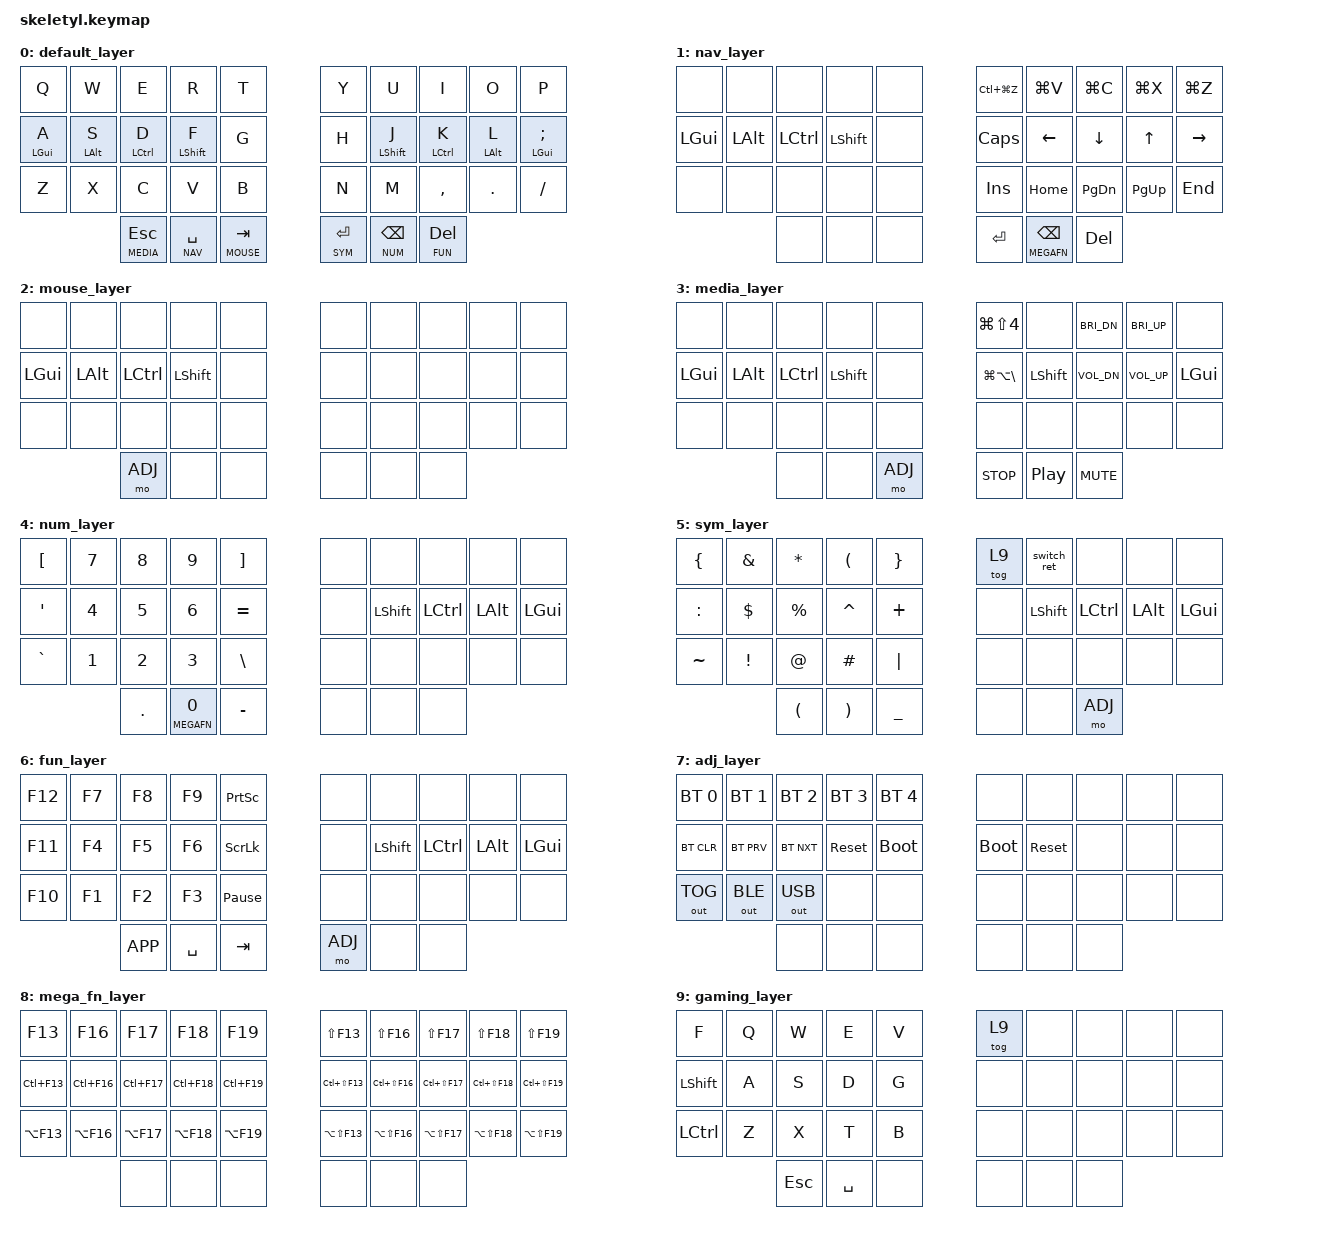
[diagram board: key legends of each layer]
#include <behaviors.dtsi>
#include <dt-bindings/zmk/keys.h>
#include <dt-bindings/zmk/bt.h>
#include <dt-bindings/zmk/outputs.h>

#define BASE 0
#define NAV 1
#define MOUSE 2
#define MEDIA 3
#define NUM 4
#define SYM 5
#define FUN 6
#define ADJ 7
#define MEGAFN 8
#define GAMING 9

/ {
        behaviors {
                hm: homerow_mods {
                        compatible = "zmk,behavior-hold-tap";
                        label = "HOMEROW_MODS";
                        #binding-cells = <2>;
                        tapping-term-ms = <220>;
                        quick_tap_ms = <0>;
                        flavor = "balanced";
                        bindings = <&kp>, <&kp>;
                };
        };

        combos {
                compatible = "zmk,combos";
                combo_prev {
                    timeout-ms = <50>;
                    key-positions = <7 17>;
                    layers = <NAV>;
                    bindings = <&kp LG(LS(LBRC))>;
                };

                combo_next {
                    timeout-ms = <50>;
                    key-positions = <8 18>;
                    layers = <NAV>;
                    bindings = <&kp LG(LS(RBRC))>;
                };
                
                combo_left_sqrbrkt {
                    timeout-ms = <50>;
                    key-positions = <0 10>;
                    layers = <BASE>;
                    bindings = <&kp LBKT>;
                };

                combo_right_sqrbrkt {
                    timeout-ms = <50>;
                    key-positions = <4 14>;
                    layers = <BASE>;
                    bindings = <&kp RBKT>;
                };

                combo_lang_eng {
                    timeout-ms = <50>;
                    key-positions = <27 34>;
                    layers = <BASE>;
                    bindings = <&kp LG(F17)>;
                };

                combo_lang_ru {
                    timeout-ms = <50>;
                    key-positions = <26 34>;
                    layers = <BASE>;
                    bindings = <&kp LG(F16)>;
                };

                combo_lang_pl {
                    timeout-ms = <50>;
                    key-positions = <25 34>;
                    layers = <BASE>;
                    bindings = <&kp LG(F13)>;
                };
        };

        macros {
                switch_ret: switch_ret {
                        compatible = "zmk,behavior-macro";
                        #binding-cells = <0>;
                        wait-ms = <40>;
                        tap-ms = <40>;
                        bindings
                                = <&kp S &kp W &kp I &kp T &kp C &kp H>
                                , <&kp RET>
                                ;
                };
        };

        keymap {
                compatible = "zmk,keymap";

                default_layer {
                        bindings = <
   &kp Q       &kp W       &kp E          &kp R          &kp T             &kp Y        &kp U         &kp I        &kp O       &kp P
   &hm LGUI A  &hm LALT S  &hm LCTRL D    &hm LSHFT F    &kp G             &kp H        &hm LSHFT J   &hm LCTRL K  &hm LALT L  &hm LGUI SEMI
   &kp Z       &kp X       &kp C          &kp V          &kp B             &kp N        &kp M         &kp COMMA    &kp DOT     &kp FSLH
                           &lt MEDIA ESC  &lt NAV SPACE  &lt MOUSE TAB     &lt SYM RET  &lt NUM BSPC  &lt FUN DEL
                        >;
                };

                nav_layer {
                        bindings = <
   &none     &none         &none          &none          &none             &kp LC(LG(Z))  &kp LG(V)   &kp LG(C)    &kp LG(X)   &kp LG(Z)
   &kp LGUI  &kp LALT      &kp LCTRL      &kp LSHFT      &none             &kp CAPS       &kp LEFT    &kp DOWN     &kp UP      &kp RIGHT
   &none     &none         &none          &none          &none             &kp INS        &kp HOME    &kp PG_DN    &kp PG_UP   &kp END
                           &none          &none          &none             &kp RET        &lt MEGAFN BSPC    &kp DEL
                        >;
                };

                mouse_layer {
                        bindings = <
   &none       &none       &none          &none          &none             &none        &none         &none        &none       &none
   &kp LGUI    &kp LALT    &kp LCTRL      &kp LSHFT      &none             &none        &none         &none        &none       &none
   &none       &none       &none          &none          &none             &none        &none         &none        &none       &none
                           &mo ADJ        &none          &none             &none        &none         &none
                        >;
                };

                media_layer {
                        bindings = <
   &none       &none       &none          &none          &none             &kp LG(LS(N4))    &none         &kp C_BRI_DN  &kp C_BRI_UP  &none
   &kp LGUI    &kp LALT    &kp LCTRL      &kp LSHFT      &none             &kp LG(LA(BSLH))  &kp LSHFT     &kp C_VOL_DN  &kp C_VOL_UP  &kp LGUI
   &none       &none       &none          &none          &none             &none             &none         &none         &none         &none
                           &none          &none          &mo ADJ           &kp C_STOP        &kp C_PP      &kp K_MUTE
                        >;
                };

                num_layer {
                        bindings = <
   &kp LBKT    &kp N7      &kp N8         &kp N9         &kp RBKT          &none        &none         &none        &none       &none
   &kp SQT     &kp N4      &kp N5         &kp N6         &kp EQUAL         &none        &kp LSHFT     &kp LCTRL    &kp LALT    &kp LGUI
   &kp GRAVE   &kp N1      &kp N2         &kp N3         &kp BSLH          &none        &none         &none        &none       &none
                           &kp DOT        &lt MEGAFN N0         &kp MINUS         &none        &none         &none
                        >;
                };

                sym_layer {
                        bindings = <
   &kp LBRC    &kp AMPS    &kp STAR       &kp LPAR       &kp RBRC          &tog 9       &switch_ret   &none        &none       &none
   &kp COLON   &kp DLLR    &kp PRCNT      &kp CARET      &kp PLUS          &none        &kp LSHFT     &kp LCTRL    &kp LALT    &kp LGUI
   &kp TILDE   &kp EXCL    &kp AT         &kp HASH       &kp PIPE          &none        &none         &none        &none       &none
                           &kp LPAR       &kp RPAR       &kp UNDER         &none        &none         &mo ADJ
                        >;
                };

                fun_layer {
                        bindings = <
   &kp F12     &kp F7      &kp F8         &kp F9         &kp PSCRN         &none        &none         &none        &none       &none
   &kp F11     &kp F4      &kp F5         &kp F6         &kp SLCK          &none        &kp LSHFT     &kp LCTRL    &kp LALT    &kp LGUI
   &kp F10     &kp F1      &kp F2         &kp F3         &kp PAUSE_BREAK   &none        &none         &none        &none       &none
                           &kp K_APP      &kp SPACE      &kp TAB           &mo ADJ      &none         &none
                        >;
                };

                adj_layer {
                        bindings = <
   &bt BT_SEL 0  &bt BT_SEL 1  &bt BT_SEL 2  &bt BT_SEL 3 &bt BT_SEL 4  &none        &none       &none   &none   &none
   &bt BT_CLR    &bt BT_PRV    &bt BT_NXT    &sys_reset   &bootloader   &bootloader  &sys_reset  &none   &none   &none
   &out OUT_TOG  &out OUT_BLE  &out OUT_USB  &none        &none         &none        &none       &none   &none   &none
                               &none         &none        &none         &none        &none       &none
                        >;
                };
                
                mega_fn_layer {
                        bindings = <
   &kp F13  &kp F16  &kp F17  &kp F18  &kp F19    &kp LS(F13)  &kp LS(F16)  &kp LS(F17)  &kp LS(F18)  &kp LS(F19)
   &kp LC(F13)  &kp LC(F16)  &kp LC(F17)  &kp LC(F18)  &kp LC(F19)    &kp LC(LS(F13))  &kp LC(LS(F16))  &kp LC(LS(F17))  &kp LC(LS(F18))  &kp LC(LS(F19))
   &kp LA(F13)  &kp LA(F16)  &kp LA(F17)  &kp LA(F18)  &kp LA(F19)    &kp LA(LS(F13))  &kp LA(LS(F16))  &kp LA(LS(F17))  &kp LA(LS(F18))  &kp LA(LS(F19))
                               &none         &none        &none         &none        &none   &none
                        >;
                };

                gaming_layer {
                        bindings = <
   &kp F       &kp Q       &kp W          &kp E          &kp V             &tog 9       &none         &none        &none       &none
   &kp LSHIFT  &kp A       &kp S          &kp D          &kp G             &none        &none         &none        &none       &none
   &kp LCTRL   &kp Z       &kp X          &kp T          &kp B             &none        &none         &none        &none       &none
                           &kp ESC        &kp SPACE      &none             &none        &none         &none
                        >;
                };
        };
};
